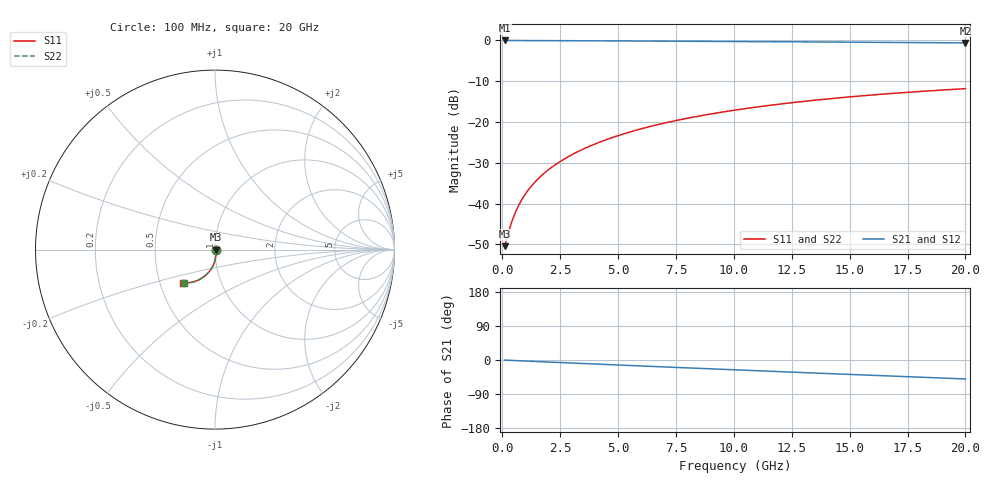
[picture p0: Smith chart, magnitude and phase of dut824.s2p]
! Touchstone file exported from HFSS 2026.1.0
!  File:  C:/ffzhzh/LocalFiles/Ansys_Project_Files/temp_train_BSMRDL_824_1783170119_18472.aedt
!  Generated:  09:03:26 PM Jul  4, 2026
!  Design:  BSMRDL
!  Project:  temp_train_BSMRDL_824_1783170119_18472
! Variables:
!  h_bsmrdl = 4.86um
!  h_ox = 20um
!  h_rdl = 5um
!  h_sub = 80um
!  h_tmrdl = 5um
!  h_tsv = 80um
!  h_via = 3um
!  l_bsmrdl = 857.93um
!  l_sub = 1257.93um
!  l_tmrdl = 200um
!  m_sub = 200um
!  pitch = 26.47um
!  r_tsv = 6um
!  s_tmrdl = 10um
!  w_bsmrdl = 24.28um
!  w_sub = 500um
!  w_tmrdl = 12um
!  x_tsv_center1 = 206um
!  x_tsv_center2 = 1088.21um
!  x_tsv_center3 = 1300.21um
!  x_tsv_center4 = 2182.42um
!  x_tsv_center5 = 2394.42um
!  x_tsv_center6 = 3276.63um
# GHz S MA R 50.000000
! Terminal data exported
! Port[1] = BSM_RDL1_1_T1
! Port[2] = BSM_RDL1_1_T2
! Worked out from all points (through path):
!   200 points, 100 MHz to 20 GHz, reference 50 ohm
!   highest |S21| = -0.03 dB at 100 MHz (marker M1); lowest = -0.6 dB at 20 GHz (marker M2)
!   group delay of S21, straight-line fit = 6.92 ps
!   lowest |S11| = -50.4 dB at 100 MHz (marker M3), VSWR 1.01, Z = 50.3 - j0.0323 ohm
!   |S11| at or under -10 dB: start of sweep to end of sweep
!   |S22| runs from -50.4 to -11.8 dB; largest |S21 - S12| = 2.7e-14
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0.1  0.003011 -6.1  0.997 -0.3  0.997 -0.3  0.003011 -6.1
! Gamma 0 0 0 0
! Port Impedance 50 0 50 0
0.3  0.004785 -27.1  0.9957 -0.9  0.9957 -0.9  0.004785 -27.1
0.4  0.00588 -36.6  0.9952 -1.2  0.9952 -1.2  0.00588 -36.6
0.6  0.008215 -50.3  0.9946 -1.7  0.9946 -1.7  0.008217 -50.3
0.7  0.009425 -55.1  0.9943 -2.0  0.9943 -2.0  0.009426 -55.1
0.9  0.01189 -62.2  0.994 -2.5  0.994 -2.5  0.0119 -62.2
1.2  0.01568 -69.1  0.9935 -3.3  0.9935 -3.3  0.01568 -69.1
1.4  0.01824 -72.2  0.9932 -3.8  0.9932 -3.8  0.01825 -72.2
1.7  0.02214 -75.8  0.9926 -4.6  0.9926 -4.6  0.02215 -75.7
2.2  0.02877 -79.9  0.9916 -5.9  0.9916 -5.9  0.02877 -79.8
2.8  0.03691 -83.3  0.9903 -7.5  0.9903 -7.5  0.03692 -83.3
3.5  0.04664 -86.5  0.9885 -9.4  0.9885 -9.4  0.04665 -86.4
4.2  0.05655 -89.2  0.9865 -11.2  0.9865 -11.2  0.05657 -89.1
5  0.06804 -92.0  0.9842 -13.2  0.9842 -13.2  0.06807 -91.9
5.9  0.08105 -95.0  0.9816 -15.5  0.9816 -15.5  0.08109 -94.9
6.8  0.09405 -97.8  0.9788 -17.8  0.9788 -17.8  0.0941 -97.7
8.3  0.1155 -102.4  0.9741 -21.6  0.9741 -21.6  0.1155 -102.3
10.1  0.1405 -107.6  0.9682 -26.1  0.9682 -26.1  0.1406 -107.5
11.7  0.1619 -112.1  0.9626 -30.0  0.9626 -30.0  0.162 -111.9
13.4  0.1836 -116.7  0.9564 -34.2  0.9564 -34.2  0.1837 -116.5
16.7  0.2223 -125.2  0.9437 -42.2  0.9437 -42.2  0.2225 -125.0
20  0.2559 -133.4  0.9307 -50.0  0.9307 -50.0  0.2561 -133.2
